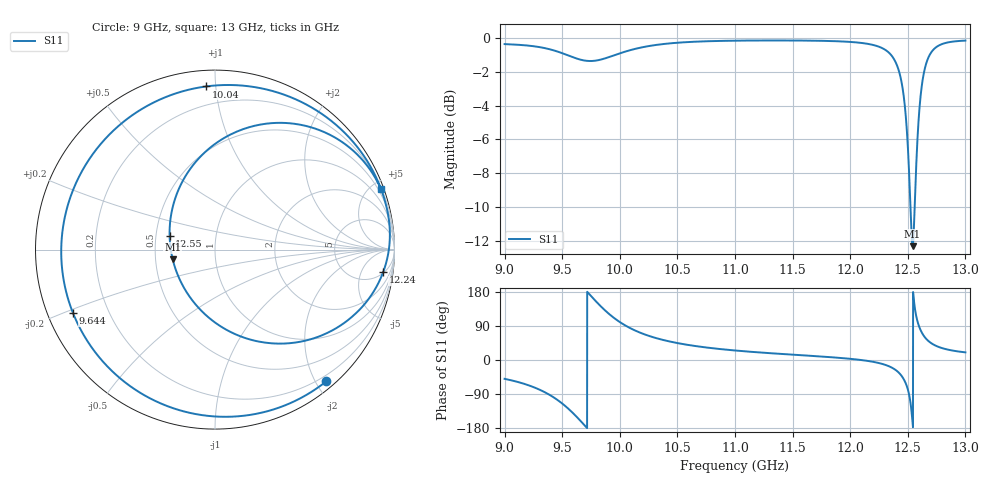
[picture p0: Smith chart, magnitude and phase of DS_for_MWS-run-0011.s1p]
! TOUCHSTONE file generated by CST DESIGN STUDIO
! Date and time: Tue Feb  4 13:09:14 2025
! Project name: C:\Work\MatlabApps\UnitCellOptimizationMatlab\CST\unitcell.cst
! Tree item: Tasks\Sweep1\SPara1\S-Parameters
! Header version: 2024
! Port assignment regex: !\s*Touchstone port\s*([0-9]+)\s*=\s*(CST MWS port|CST DES external port|CST DES block port)\s*(.+)\s* \(\"(.*)\"\)(\s*mode\s*([0-9]+))?.*
! Touchstone port assignment:
! Touchstone port 1 = CST DES external port 1 ("")
# GHz S MA R 50
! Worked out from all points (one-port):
!   4001 points, 9 GHz to 13 GHz, reference 50 ohm
!   lowest |S11| = -12.3 dB at 12.54 GHz (marker M1), VSWR 1.64, Z = 30.8 - j3.56 ohm
!   |S11| at or under -10 dB: 12.52304 GHz to 12.55981 GHz (36.77 MHz wide, 0.293 % of centre)
!   S11 on the Smith chart (normalised r, x): 9 GHz: 0.11, -2.15; 9.644 GHz: 0.07, -0.21; 10.04 GHz: 0.09, +0.94; 12.24 GHz: 5, -13; 12.55 GHz: 0.59, +0.10; 13 GHz: 0.26, +5.61
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9  0.9608 -49.7
9.265  0.9456 -73.3
9.398  0.9262 -93.3
9.5  0.903 -114.8
9.571  0.8841 -133.5
9.644  0.8666 -155.8
9.714  0.8569 -179.1
9.784  0.8576 157.6
9.89  0.8755 125.9
10  0.9019 100.1
10.037  0.9105 93.1
10.244  0.947 64.5
10.5  0.9697 44.7
11  0.9834 25.1
11.5  0.9846 14.1
12  0.9752 3.1
12.244  0.9452 -7.7
12.341  0.9028 -17.1
12.406  0.8315 -29.0
12.454  0.7141 -45.3
12.5  0.4797 -77.3
12.542  0.2419 -167.0
12.551  0.264 163.4
12.593  0.5667 93.0
12.636  0.7776 65.1
12.688  0.8898 47.8
12.755  0.9452 36.0
13  0.984 20.2
